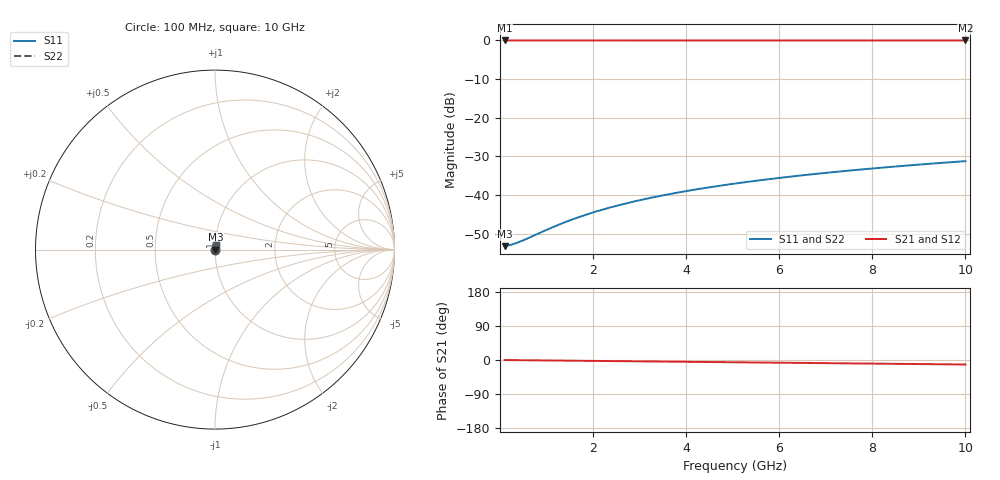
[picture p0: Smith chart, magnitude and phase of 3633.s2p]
# Hz S RI R 50.00
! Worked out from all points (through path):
!   100 points, 100 MHz to 10 GHz, reference 50 ohm
!   highest |S21| = -0.02 dB at 100 MHz (marker M1); lowest = 0.0 dB at 10 GHz (marker M2)
!   group delay of S21, straight-line fit = 3.3 ps
!   lowest |S11| = -53.2 dB at 100 MHz (marker M3), VSWR 1.00, Z = 50.2 + j0.0273 ohm
!   |S11| at or under -10 dB: start of sweep to end of sweep
!   |S22| runs from -53.2 to -31.2 dB; largest |S21 - S12| = 0
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1e8  0.00218 0.000272  0.9978 -0.00207  0.9978 -0.00207  0.00218 0.000272
2e8  0.00219 0.000544  0.9978 -0.00413  0.9978 -0.00413  0.00219 0.000544
3e8  0.0022 0.000816  0.9978 -0.0062  0.9978 -0.0062  0.0022 0.000816
4e8  0.00222 0.00109  0.9978 -0.00826  0.9978 -0.00826  0.00222 0.00109
6e8  0.00224 0.00163  0.9977 -0.0124  0.9977 -0.0124  0.00224 0.00163
1e9  0.00229 0.00272  0.9975 -0.0207  0.9975 -0.0207  0.00229 0.00272
1.2e9  0.00233 0.00326  0.9974 -0.0248  0.9974 -0.0248  0.00233 0.00326
1.5e9  0.00238 0.00408  0.9972 -0.031  0.9972 -0.031  0.00238 0.00408
1.8e9  0.00245 0.00489  0.997 -0.0372  0.997 -0.0372  0.00245 0.00489
2.1e9  0.00252 0.0057  0.9967 -0.0434  0.9967 -0.0434  0.00252 0.0057
2.5e9  0.00263 0.00678  0.9963 -0.0516  0.9963 -0.0516  0.00263 0.00678
2.9e9  0.00276 0.00786  0.9958 -0.0599  0.9958 -0.0599  0.00276 0.00786
3.4e9  0.00295 0.00921  0.9951 -0.0702  0.9951 -0.0702  0.00295 0.00921
3.8e9  0.00312 0.0103  0.9945 -0.0784  0.9945 -0.0784  0.00312 0.0103
4.2e9  0.0033 0.0113  0.9938 -0.0867  0.9938 -0.0867  0.0033 0.0113
4.6e9  0.00351 0.0124  0.993 -0.0949  0.993 -0.0949  0.00351 0.0124
5.1e9  0.00379 0.0137  0.9919 -0.1052  0.9919 -0.1052  0.00379 0.0137
5.9e9  0.00429 0.0159  0.99 -0.1216  0.99 -0.1216  0.00429 0.0159
6.7e9  0.00487 0.0179  0.9878 -0.138  0.9878 -0.138  0.00487 0.0179
7.5e9  0.00551 0.02  0.9853 -0.1544  0.9853 -0.1544  0.00551 0.02
8.4e9  0.00632 0.0223  0.9821 -0.1727  0.9821 -0.1727  0.00632 0.0223
1e10  0.00797 0.0263  0.9757 -0.2052  0.9757 -0.2052  0.00797 0.0263
